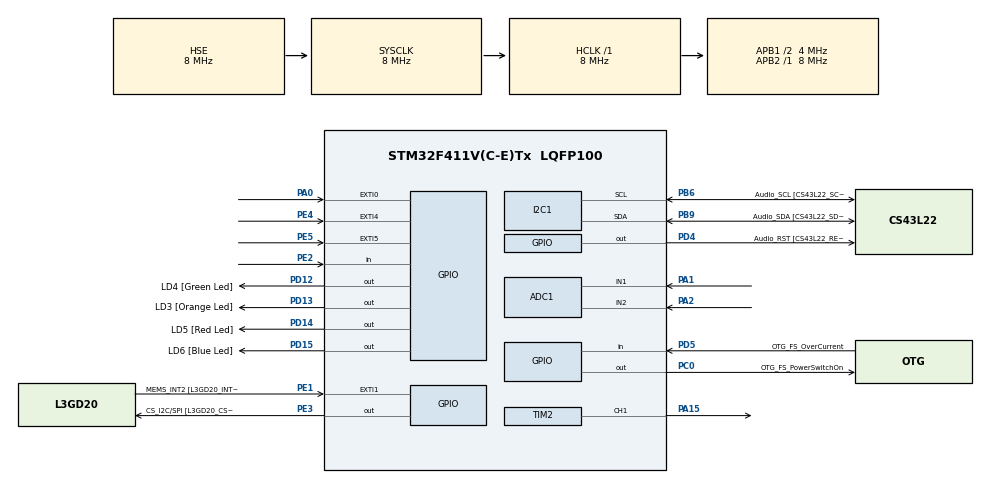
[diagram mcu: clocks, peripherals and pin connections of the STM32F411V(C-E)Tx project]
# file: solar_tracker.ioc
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ADC1.Channel-0\#ChannelRegularConversion=ADC_CHANNEL_2
ADC1.Channel-10\#ChannelInjectedConversion=ADC_CHANNEL_1
ADC1.Channel-11\#ChannelInjectedConversion=ADC_CHANNEL_2
ADC1.ContinuousConvMode=DISABLE
ADC1.EOCSelection=ADC_EOC_SINGLE_CONV
ADC1.InjNumberOfConversion=2
ADC1.InjectedConvMode=None
ADC1.InjectedOffset-10\#ChannelInjectedConversion=0
ADC1.InjectedOffset-11\#ChannelInjectedConversion=0
ADC1.InjectedRank-10\#ChannelInjectedConversion=1
ADC1.InjectedRank-11\#ChannelInjectedConversion=2
ADC1.NbrOfConversion=1
ADC1.NbrOfConversionFlag=1
ADC1.Rank-0\#ChannelRegularConversion=1
ADC1.SamplingTime-0\#ChannelRegularConversion=ADC_SAMPLETIME_3CYCLES
ADC1.SamplingTime-10\#ChannelInjectedConversion=ADC_SAMPLETIME_28CYCLES
ADC1.SamplingTime-11\#ChannelInjectedConversion=ADC_SAMPLETIME_28CYCLES
ADC1.master=1
Mcu.Family=STM32F4
Mcu.Name=STM32F411V(C-E)Tx
Mcu.Package=LQFP100
NVIC.ADC_IRQn=true\:0\:0\:false\:false\:true\:true\:true\:true
NVIC.I2C1_EV_IRQn=true\:0\:0\:false\:false\:true\:true\:true\:true
NVIC.PriorityGroup=NVIC_PRIORITYGROUP_0
NVIC.RCC_IRQn=true\:0\:0\:false\:false\:true\:true\:false\:true
NVIC.TIM2_IRQn=true\:0\:0\:false\:false\:true\:true\:true\:true
PA0-WKUP.GPIO_ModeDefaultEXTI=GPIO_MODE_EVT_RISING
PA0-WKUP.Signal=GPXTI0
PA1.Signal=ADCx_IN1
PA10.GPIO_Label=OTG_FS_ID
PA10.Signal=USB_OTG_FS_ID
PA11.GPIO_Label=OTG_FS_DM
PA11.Signal=USB_OTG_FS_DM
PA12.GPIO_Label=OTG_FS_DP
PA12.Signal=USB_OTG_FS_DP
PA13.GPIO_Label=SWDIO
PA13.Signal=SYS_JTMS-SWDIO
PA14.GPIO_Label=SWCLK
PA14.Signal=SYS_JTCK-SWCLK
PA15.Signal=S_TIM2_CH1_ETR
PA2.Signal=ADCx_IN2
PA4.GPIO_Label=I2S3_WS [CS43L22_LRCK]
PA4.GPIO_Mode=GPIO_MODE_AF_PP
PA4.GPIO_PuPd=GPIO_NOPULL
PA4.GPIO_Speed=GPIO_SPEED_FREQ_LOW
PA4.Signal=I2S3_WS
PA5.GPIO_Label=SPI1_SCK [L3GD20_SC/SPC]
PA5.Signal=SPI1_SCK
PA6.GPIO_Label=SPI1_MISO [L3GD20_AS0/SDO]
PA6.Signal=SPI1_MISO
PA7.GPIO_Label=SPI1_MOSI [L3GD20_SDA/SDI/SDO]
PA7.Signal=SPI1_MOSI
PA9.GPIO_Label=VBUS_FS
PA9.Signal=USB_OTG_FS_VBUS
PB10.GPIO_Label=CLK_IN [MP45DT02_CLK]
PB10.Signal=I2S2_CK
PB12.Signal=I2S2_WS
PB3.GPIO_Label=SWO
PB3.Signal=SYS_JTDO-SWO
PB6.GPIO_Label=Audio_SCL [CS43L22_SCL]
PB6.GPIO_Mode=GPIO_MODE_AF_OD
PB6.GPIO_PuPd=GPIO_NOPULL
PB6.GPIO_Speed=GPIO_SPEED_FREQ_LOW
PB6.Mode=I2C
PB6.Signal=I2C1_SCL
PB9.GPIO_Label=Audio_SDA [CS43L22_SDA]
PB9.GPIO_Mode=GPIO_MODE_AF_OD
PB9.GPIO_PuPd=GPIO_NOPULL
PB9.GPIO_Speed=GPIO_SPEED_FREQ_LOW
PB9.Mode=I2C
PB9.Signal=I2C1_SDA
PC0.GPIO_Label=OTG_FS_PowerSwitchOn
PC0.PinState=GPIO_PIN_SET
PC0.Signal=GPIO_Output
PC10.GPIO_Label=I2S3_SCK [CS43L22_SCLK]
PC10.GPIO_Mode=GPIO_MODE_AF_PP
PC10.GPIO_PuPd=GPIO_NOPULL
PC10.GPIO_Speed=GPIO_SPEED_FREQ_LOW
PC10.Signal=I2S3_CK
PC12.GPIO_Label=I2S3_SD [CS43L22_SDIN]
PC12.GPIO_Mode=GPIO_MODE_AF_PP
PC12.GPIO_PuPd=GPIO_NOPULL
PC12.GPIO_Speed=GPIO_SPEED_FREQ_LOW
PC12.Signal=I2S3_SD
PC14-OSC32_IN.GPIO_Label=PC14-OSC32_IN
PC14-OSC32_IN.Signal=RCC_OSC32_IN
PC15-OSC32_OUT.GPIO_Label=PC15-OSC32_OUT
PC15-OSC32_OUT.Signal=RCC_OSC32_OUT
PC3.GPIO_Label=PDM_OUT [MP45DT02_DOUT]
PC3.Signal=I2S2_SD
PC7.GPIO_Label=I2S3_MCK [CS43L22_MCLK]
PC7.GPIO_Mode=GPIO_MODE_AF_PP
PC7.GPIO_PuPd=GPIO_NOPULL
PC7.GPIO_Speed=GPIO_SPEED_FREQ_LOW
PC7.Signal=I2S3_MCK
PD12.GPIO_Label=LD4 [Green Led]
PD12.GPIO_PuPd=GPIO_NOPULL
PD12.GPIO_Speed=GPIO_SPEED_FREQ_LOW
PD12.Signal=GPIO_Output
PD13.GPIO_Label=LD3 [Orange Led]
PD13.GPIO_PuPd=GPIO_NOPULL
PD13.GPIO_Speed=GPIO_SPEED_FREQ_LOW
PD13.Signal=GPIO_Output
PD14.GPIO_Label=LD5 [Red Led]
PD14.GPIO_PuPd=GPIO_NOPULL
PD14.GPIO_Speed=GPIO_SPEED_FREQ_LOW
PD14.Signal=GPIO_Output
PD15.GPIO_Label=LD6 [Blue Led]
PD15.GPIO_PuPd=GPIO_NOPULL
PD15.GPIO_Speed=GPIO_SPEED_FREQ_LOW
PD15.Signal=GPIO_Output
PD4.GPIO_Label=Audio_RST [CS43L22_RESET]
PD4.Signal=GPIO_Output
PD5.GPIO_Label=OTG_FS_OverCurrent
PD5.Signal=GPIO_Input
PE1.GPIO_Label=MEMS_INT2 [L3GD20_INT2]
PE1.GPIO_ModeDefaultEXTI=GPIO_MODE_EVT_RISING
PE1.Signal=GPXTI1
PE2.Signal=GPIO_Input
PE3.GPIO_Label=CS_I2C/SPI [L3GD20_CS_I2C/SPI]
PE3.Signal=GPIO_Output
PE4.GPIO_ModeDefaultEXTI=GPIO_MODE_EVT_RISING
PE4.Signal=GPXTI4
PE5.GPIO_ModeDefaultEXTI=GPIO_MODE_EVT_RISING
PE5.Signal=GPXTI5
PH0\ -\ OSC_IN.Mode=HSE-External-Oscillator
PH0\ -\ OSC_IN.Signal=RCC_OSC_IN
PH1\ -\ OSC_OUT.Mode=HSE-External-Oscillator
PH1\ -\ OSC_OUT.Signal=RCC_OSC_OUT
ProjectManager.HeapSize=0x200
ProjectManager.StackSize=0x400
ProjectManager.TargetToolchain=STM32CubeIDE
RCC.AHBFreq_Value=8000000
RCC.APB1CLKDivider=RCC_HCLK_DIV2
RCC.APB1Freq_Value=4000000
RCC.APB1TimFreq_Value=8000000
RCC.APB2Freq_Value=8000000
RCC.APB2TimFreq_Value=8000000
RCC.CortexFreq_Value=8000000
RCC.HCLKFreq_Value=8000000
RCC.HSE_VALUE=8000000
RCC.HSI_VALUE=16000000
RCC.LSE_VALUE=32768
RCC.PLLI2SM=5
RCC.PLLI2SN=200
RCC.PLLM=8
RCC.PLLP=RCC_PLLP_DIV4
RCC.PLLQ=8
RCC.SYSCLKFreq_VALUE=8000000
RCC.SYSCLKSource=RCC_SYSCLKSOURCE_HSE
RCC.VCOOutputFreq_Value=384000000
SH.ADCx_IN1.0=ADC1_IN1,IN1
SH.ADCx_IN2.0=ADC1_IN2,IN2
SH.S_TIM2_CH1_ETR.0=TIM2_CH1,PWM Generation1 CH1
TIM2.Channel-PWM\ Generation1\ CH1=TIM_CHANNEL_1
TIM2.Period=20000
TIM2.Prescaler=7
VP_TIM2_VS_ClockSourceINT.Mode=Internal
board=STM32F411E-DISCO

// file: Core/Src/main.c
/* USER CODE BEGIN Header */
/**
  ******************************************************************************
  * @file           : main.c
  * @brief          : Main program body
  ******************************************************************************
  * @attention
  *
  * Copyright (c) 2025 STMicroelectronics.
  * All rights reserved.
  *
  * This software is licensed under terms that can be found in the LICENSE file
  * in the root directory of this software component.
  * If no LICENSE file comes with this software, it is provided AS-IS.
  *
  ******************************************************************************
  */
/* USER CODE END Header */
#include "main.h"
#include <string.h>
#include <stdio.h>
#include <inttypes.h>

ADC_HandleTypeDef hadc1;

I2C_HandleTypeDef hi2c1;

TIM_HandleTypeDef htim2;

void SystemClock_Config(void);
static void MX_GPIO_Init(void);
static void MX_ADC1_Init(void);
static void MX_TIM2_Init(void);
static void MX_I2C1_Init(void);
/* USER CODE BEGIN PFP */

void Empty_Line(uint8_t row){
	GROVE_LCD_SetCursor(row,0);
	GROVE_LCD_WriteString("                ");
}

void Show_Delta(int8_t counter, int32_t value){
    if (counter % 10 == 0){
    	Empty_Line(0);
        char delta[20];
        snprintf(delta, sizeof(delta), "delta=%" PRId32, value);

        GROVE_LCD_SetCursor(0,0);
        GROVE_LCD_WriteString(delta);
    }
}
/* USER CODE END PFP */

/* USER CODE BEGIN 0 */
uint32_t chan1 = 1;
uint32_t chan2 = 2;
uint32_t act_pos = 0;
uint32_t tar_pos = 0;
uint32_t lux_chan1_v = 0;
uint32_t lux_chan2_v = 0;
uint32_t flag = 0;
int32_t  pos= 900;
int32_t max_range= 2400;
int32_t step = 0;
/* USER CODE END 0 */

int main(void)
{

  /* MCU Configuration--------------------------------------------------------*/

  /* Reset of all peripherals, Initializes the Flash interface and the Systick. */
  HAL_Init();

  /* Configure the system clock */
  SystemClock_Config();

  /* Initialize all configured peripherals */
  MX_GPIO_Init();
  MX_ADC1_Init();
  MX_TIM2_Init();
  MX_I2C1_Init();

  /* Infinite loop */
  /* USER CODE BEGIN WHILE */
  HAL_TIM_PWM_Start(&htim2, TIM_CHANNEL_1);
  HAL_ADCEx_InjectedStart_IT(&hadc1);
 __HAL_TIM_SET_COMPARE(&htim2, TIM_CHANNEL_1, pos);
 HAL_Delay(10);
 pos = 500;
 __HAL_TIM_SET_COMPARE(&htim2, TIM_CHANNEL_1, pos);
 GROVE_LCD_Init(&hi2c1);
 GROVE_LCD_setBacklightRGB(0,128,0);
 char * word = "Initializing";
 int8_t counter = 0;
 GROVE_LCD_WriteString(word);
 HAL_Delay(10);
while (1)
  {
	  if (flag == 1){
		  flag = 0;
		  HAL_ADCEx_InjectedStart_IT(&hadc1);
	  }

	 int32_t dlt_lux =  lux_chan1_v - lux_chan2_v;

	 Show_Delta(counter, dlt_lux);

	 if((-0.125*max_range < dlt_lux) &&
		 (dlt_lux <0.125*max_range)){
		 step = 0;
	 }else if (-0.25*max_range < dlt_lux &&
			 dlt_lux < 0.25*max_range){
		 step = 5;
	 }else if (-0.65*max_range < dlt_lux &&
			 dlt_lux < 0.65*max_range){
		 step = 10;
	 }else {
		 step = 30;
	 }
	 if (dlt_lux < 0){
		step *= -1;
	 }

	 if (pos>= 500 && pos <= 2400){
		 pos += step;
	 }else {
		 if (pos<500){
			 pos = 500;
		 }else {
			 pos = 2400;
		 }

	 }
	 __HAL_TIM_SET_COMPARE(&htim2, TIM_CHANNEL_1, pos);
	 HAL_Delay(50);
	 counter ++;
    /* USER CODE END WHILE */

  }
}

void SystemClock_Config(void)
{
  RCC_OscInitTypeDef RCC_OscInitStruct = {0};
  RCC_ClkInitTypeDef RCC_ClkInitStruct = {0};

  /** Configure the main internal regulator output voltage
  */
  __HAL_RCC_PWR_CLK_ENABLE();
  __HAL_PWR_VOLTAGESCALING_CONFIG(PWR_REGULATOR_VOLTAGE_SCALE1);

  /** Initializes the RCC Oscillators according to the specified parameters
  * in the RCC_OscInitTypeDef structure.
  */
  RCC_OscInitStruct.OscillatorType = RCC_OSCILLATORTYPE_HSE;
  RCC_OscInitStruct.HSEState = RCC_HSE_ON;
  RCC_OscInitStruct.PLL.PLLState = RCC_PLL_NONE;
  if (HAL_RCC_OscConfig(&RCC_OscInitStruct) != HAL_OK)
  {
    Error_Handler();
  }

  /** Initializes the CPU, AHB and APB buses clocks
  */
  RCC_ClkInitStruct.ClockType = RCC_CLOCKTYPE_HCLK|RCC_CLOCKTYPE_SYSCLK
                              |RCC_CLOCKTYPE_PCLK1|RCC_CLOCKTYPE_PCLK2;
  RCC_ClkInitStruct.SYSCLKSource = RCC_SYSCLKSOURCE_HSE;
  RCC_ClkInitStruct.AHBCLKDivider = RCC_SYSCLK_DIV1;
  RCC_ClkInitStruct.APB1CLKDivider = RCC_HCLK_DIV2;
  RCC_ClkInitStruct.APB2CLKDivider = RCC_HCLK_DIV1;

  if (HAL_RCC_ClockConfig(&RCC_ClkInitStruct, FLASH_LATENCY_0) != HAL_OK)
  {
    Error_Handler();
  }
}

static void MX_ADC1_Init(void)
{

  ADC_ChannelConfTypeDef sConfig = {0};
  ADC_InjectionConfTypeDef sConfigInjected = {0};

  /** Configure the global features of the ADC (Clock, Resolution, Data Alignment and number of conversion)
  */
  hadc1.Instance = ADC1;
  hadc1.Init.ClockPrescaler = ADC_CLOCK_SYNC_PCLK_DIV2;
  hadc1.Init.Resolution = ADC_RESOLUTION_12B;
  hadc1.Init.ScanConvMode = ENABLE;
  hadc1.Init.ContinuousConvMode = DISABLE;
  hadc1.Init.DiscontinuousConvMode = DISABLE;
  hadc1.Init.ExternalTrigConvEdge = ADC_EXTERNALTRIGCONVEDGE_NONE;
  hadc1.Init.ExternalTrigConv = ADC_SOFTWARE_START;
  hadc1.Init.DataAlign = ADC_DATAALIGN_RIGHT;
  hadc1.Init.NbrOfConversion = 1;
  hadc1.Init.DMAContinuousRequests = DISABLE;
  hadc1.Init.EOCSelection = ADC_EOC_SINGLE_CONV;
  if (HAL_ADC_Init(&hadc1) != HAL_OK)
  {
    Error_Handler();
  }

  /** Configure for the selected ADC regular channel its corresponding rank in the sequencer and its sample time.
  */
  sConfig.Channel = ADC_CHANNEL_2;
  sConfig.Rank = 1;
  sConfig.SamplingTime = ADC_SAMPLETIME_3CYCLES;
  if (HAL_ADC_ConfigChannel(&hadc1, &sConfig) != HAL_OK)
  {
    Error_Handler();
  }

  /** Configures for the selected ADC injected channel its corresponding rank in the sequencer and its sample time
  */
  sConfigInjected.InjectedChannel = ADC_CHANNEL_1;
  sConfigInjected.InjectedRank = 1;
  sConfigInjected.InjectedNbrOfConversion = 2;
  sConfigInjected.InjectedSamplingTime = ADC_SAMPLETIME_28CYCLES;
  sConfigInjected.ExternalTrigInjecConvEdge = ADC_EXTERNALTRIGINJECCONVEDGE_NONE;
  sConfigInjected.ExternalTrigInjecConv = ADC_INJECTED_SOFTWARE_START;
  sConfigInjected.AutoInjectedConv = DISABLE;
  sConfigInjected.InjectedDiscontinuousConvMode = DISABLE;
  sConfigInjected.InjectedOffset = 0;
  if (HAL_ADCEx_InjectedConfigChannel(&hadc1, &sConfigInjected) != HAL_OK)
  {
    Error_Handler();
  }

  /** Configures for the selected ADC injected channel its corresponding rank in the sequencer and its sample time
  */
  sConfigInjected.InjectedChannel = ADC_CHANNEL_2;
  sConfigInjected.InjectedRank = 2;
  if (HAL_ADCEx_InjectedConfigChannel(&hadc1, &sConfigInjected) != HAL_OK)
  {
    Error_Handler();
  }

}

static void MX_I2C1_Init(void)
{

  hi2c1.Instance = I2C1;
  hi2c1.Init.ClockSpeed = 100000;
  hi2c1.Init.DutyCycle = I2C_DUTYCYCLE_2;
  hi2c1.Init.OwnAddress1 = 0;
  hi2c1.Init.AddressingMode = I2C_ADDRESSINGMODE_7BIT;
  hi2c1.Init.DualAddressMode = I2C_DUALADDRESS_DISABLE;
  hi2c1.Init.OwnAddress2 = 0;
  hi2c1.Init.GeneralCallMode = I2C_GENERALCALL_DISABLE;
  hi2c1.Init.NoStretchMode = I2C_NOSTRETCH_DISABLE;
  if (HAL_I2C_Init(&hi2c1) != HAL_OK)
  {
    Error_Handler();
  }

}

static void MX_TIM2_Init(void)
{

  TIM_ClockConfigTypeDef sClockSourceConfig = {0};
  TIM_MasterConfigTypeDef sMasterConfig = {0};
  TIM_OC_InitTypeDef sConfigOC = {0};

  htim2.Instance = TIM2;
  htim2.Init.Prescaler = 7;
  htim2.Init.CounterMode = TIM_COUNTERMODE_UP;
  htim2.Init.Period = 20000;
  htim2.Init.ClockDivision = TIM_CLOCKDIVISION_DIV1;
  htim2.Init.AutoReloadPreload = TIM_AUTORELOAD_PRELOAD_DISABLE;
  if (HAL_TIM_Base_Init(&htim2) != HAL_OK)
  {
    Error_Handler();
  }
  sClockSourceConfig.ClockSource = TIM_CLOCKSOURCE_INTERNAL;
  if (HAL_TIM_ConfigClockSource(&htim2, &sClockSourceConfig) != HAL_OK)
  {
    Error_Handler();
  }
  if (HAL_TIM_PWM_Init(&htim2) != HAL_OK)
  {
    Error_Handler();
  }
  sMasterConfig.MasterOutputTrigger = TIM_TRGO_RESET;
  sMasterConfig.MasterSlaveMode = TIM_MASTERSLAVEMODE_DISABLE;
  if (HAL_TIMEx_MasterConfigSynchronization(&htim2, &sMasterConfig) != HAL_OK)
  {
    Error_Handler();
  }
  sConfigOC.OCMode = TIM_OCMODE_PWM1;
  sConfigOC.Pulse = 0;
  sConfigOC.OCPolarity = TIM_OCPOLARITY_HIGH;
  sConfigOC.OCFastMode = TIM_OCFAST_DISABLE;
  if (HAL_TIM_PWM_ConfigChannel(&htim2, &sConfigOC, TIM_CHANNEL_1) != HAL_OK)
  {
    Error_Handler();
  }
  HAL_TIM_MspPostInit(&htim2);

}

static void MX_GPIO_Init(void)
{
  GPIO_InitTypeDef GPIO_InitStruct = {0};

  /* GPIO Ports Clock Enable */
  __HAL_RCC_GPIOE_CLK_ENABLE();
  __HAL_RCC_GPIOC_CLK_ENABLE();
  __HAL_RCC_GPIOH_CLK_ENABLE();
  __HAL_RCC_GPIOA_CLK_ENABLE();
  __HAL_RCC_GPIOB_CLK_ENABLE();
  __HAL_RCC_GPIOD_CLK_ENABLE();

  /*Configure GPIO pin Output Level */
  HAL_GPIO_WritePin(CS_I2C_SPI_GPIO_Port, CS_I2C_SPI_Pin, GPIO_PIN_RESET);

  /*Configure GPIO pin Output Level */
  HAL_GPIO_WritePin(OTG_FS_PowerSwitchOn_GPIO_Port, OTG_FS_PowerSwitchOn_Pin, GPIO_PIN_SET);

  /*Configure GPIO pin Output Level */
  HAL_GPIO_WritePin(GPIOD, LD4_Pin|LD3_Pin|LD5_Pin|LD6_Pin
                          |Audio_RST_Pin, GPIO_PIN_RESET);

  /*Configure GPIO pin : PE2 */
  GPIO_InitStruct.Pin = GPIO_PIN_2;
  GPIO_InitStruct.Mode = GPIO_MODE_INPUT;
  GPIO_InitStruct.Pull = GPIO_NOPULL;
  HAL_GPIO_Init(GPIOE, &GPIO_InitStruct);

  /*Configure GPIO pin : CS_I2C_SPI_Pin */
  GPIO_InitStruct.Pin = CS_I2C_SPI_Pin;
  GPIO_InitStruct.Mode = GPIO_MODE_OUTPUT_PP;
  GPIO_InitStruct.Pull = GPIO_NOPULL;
  GPIO_InitStruct.Speed = GPIO_SPEED_FREQ_LOW;
  HAL_GPIO_Init(CS_I2C_SPI_GPIO_Port, &GPIO_InitStruct);

  /*Configure GPIO pins : PE4 PE5 MEMS_INT2_Pin */
  GPIO_InitStruct.Pin = GPIO_PIN_4|GPIO_PIN_5|MEMS_INT2_Pin;
  GPIO_InitStruct.Mode = GPIO_MODE_EVT_RISING;
  GPIO_InitStruct.Pull = GPIO_NOPULL;
  HAL_GPIO_Init(GPIOE, &GPIO_InitStruct);

  /*Configure GPIO pin : OTG_FS_PowerSwitchOn_Pin */
  GPIO_InitStruct.Pin = OTG_FS_PowerSwitchOn_Pin;
  GPIO_InitStruct.Mode = GPIO_MODE_OUTPUT_PP;
  GPIO_InitStruct.Pull = GPIO_NOPULL;
  GPIO_InitStruct.Speed = GPIO_SPEED_FREQ_LOW;
  HAL_GPIO_Init(OTG_FS_PowerSwitchOn_GPIO_Port, &GPIO_InitStruct);

  /*Configure GPIO pin : PDM_OUT_Pin */
  GPIO_InitStruct.Pin = PDM_OUT_Pin;
  GPIO_InitStruct.Mode = GPIO_MODE_AF_PP;
  GPIO_InitStruct.Pull = GPIO_NOPULL;
  GPIO_InitStruct.Speed = GPIO_SPEED_FREQ_LOW;
  GPIO_InitStruct.Alternate = GPIO_AF5_SPI2;
  HAL_GPIO_Init(PDM_OUT_GPIO_Port, &GPIO_InitStruct);

  /*Configure GPIO pin : PA0 */
  GPIO_InitStruct.Pin = GPIO_PIN_0;
  GPIO_InitStruct.Mode = GPIO_MODE_EVT_RISING;
  GPIO_InitStruct.Pull = GPIO_NOPULL;
  HAL_GPIO_Init(GPIOA, &GPIO_InitStruct);

  /*Configure GPIO pin : I2S3_WS_Pin */
  GPIO_InitStruct.Pin = I2S3_WS_Pin;
  GPIO_InitStruct.Mode = GPIO_MODE_AF_PP;
  GPIO_InitStruct.Pull = GPIO_NOPULL;
  GPIO_InitStruct.Speed = GPIO_SPEED_FREQ_LOW;
  GPIO_InitStruct.Alternate = GPIO_AF6_SPI3;
  HAL_GPIO_Init(I2S3_WS_GPIO_Port, &GPIO_InitStruct);

  /*Configure GPIO pins : SPI1_SCK_Pin SPI1_MISO_Pin SPI1_MOSI_Pin */
  GPIO_InitStruct.Pin = SPI1_SCK_Pin|SPI1_MISO_Pin|SPI1_MOSI_Pin;
  GPIO_InitStruct.Mode = GPIO_MODE_AF_PP;
  GPIO_InitStruct.Pull = GPIO_NOPULL;
  GPIO_InitStruct.Speed = GPIO_SPEED_FREQ_VERY_HIGH;
  GPIO_InitStruct.Alternate = GPIO_AF5_SPI1;
  HAL_GPIO_Init(GPIOA, &GPIO_InitStruct);

  /*Configure GPIO pins : CLK_IN_Pin PB12 */
  GPIO_InitStruct.Pin = CLK_IN_Pin|GPIO_PIN_12;
  GPIO_InitStruct.Mode = GPIO_MODE_AF_PP;
  GPIO_InitStruct.Pull = GPIO_NOPULL;
  GPIO_InitStruct.Speed = GPIO_SPEED_FREQ_LOW;
  GPIO_InitStruct.Alternate = GPIO_AF5_SPI2;
  HAL_GPIO_Init(GPIOB, &GPIO_InitStruct);

  /*Configure GPIO pins : LD4_Pin LD3_Pin LD5_Pin LD6_Pin
                           Audio_RST_Pin */
  GPIO_InitStruct.Pin = LD4_Pin|LD3_Pin|LD5_Pin|LD6_Pin
                          |Audio_RST_Pin;
  GPIO_InitStruct.Mode = GPIO_MODE_OUTPUT_PP;
  GPIO_InitStruct.Pull = GPIO_NOPULL;
  GPIO_InitStruct.Speed = GPIO_SPEED_FREQ_LOW;
  HAL_GPIO_Init(GPIOD, &GPIO_InitStruct);

  /*Configure GPIO pins : I2S3_MCK_Pin I2S3_SCK_Pin I2S3_SD_Pin */
  GPIO_InitStruct.Pin = I2S3_MCK_Pin|I2S3_SCK_Pin|I2S3_SD_Pin;
  GPIO_InitStruct.Mode = GPIO_MODE_AF_PP;
  GPIO_InitStruct.Pull = GPIO_NOPULL;
  GPIO_InitStruct.Speed = GPIO_SPEED_FREQ_LOW;
  GPIO_InitStruct.Alternate = GPIO_AF6_SPI3;
  HAL_GPIO_Init(GPIOC, &GPIO_InitStruct);

  /*Configure GPIO pin : VBUS_FS_Pin */
  GPIO_InitStruct.Pin = VBUS_FS_Pin;
  GPIO_InitStruct.Mode = GPIO_MODE_INPUT;
  GPIO_InitStruct.Pull = GPIO_NOPULL;
  HAL_GPIO_Init(VBUS_FS_GPIO_Port, &GPIO_InitStruct);

  /*Configure GPIO pins : OTG_FS_ID_Pin OTG_FS_DM_Pin OTG_FS_DP_Pin */
  GPIO_InitStruct.Pin = OTG_FS_ID_Pin|OTG_FS_DM_Pin|OTG_FS_DP_Pin;
  GPIO_InitStruct.Mode = GPIO_MODE_AF_PP;
  GPIO_InitStruct.Pull = GPIO_NOPULL;
  GPIO_InitStruct.Speed = GPIO_SPEED_FREQ_VERY_HIGH;
  GPIO_InitStruct.Alternate = GPIO_AF10_OTG_FS;
  HAL_GPIO_Init(GPIOA, &GPIO_InitStruct);

  /*Configure GPIO pin : OTG_FS_OverCurrent_Pin */
  GPIO_InitStruct.Pin = OTG_FS_OverCurrent_Pin;
  GPIO_InitStruct.Mode = GPIO_MODE_INPUT;
  GPIO_InitStruct.Pull = GPIO_NOPULL;
  HAL_GPIO_Init(OTG_FS_OverCurrent_GPIO_Port, &GPIO_InitStruct);

}

/* USER CODE BEGIN 4 */
void HAL_ADCEx_InjectedConvCpltCallback(ADC_HandleTypeDef *hadc){
	if (hadc->Instance == ADC1){
	 flag  = 1;
	 lux_chan1_v = HAL_ADCEx_InjectedGetValue(&hadc1, ADC_INJECTED_RANK_1);
	 lux_chan2_v = HAL_ADCEx_InjectedGetValue(&hadc1, ADC_INJECTED_RANK_2);
	}
}

/* USER CODE END 4 */

void Error_Handler(void)
{
  __disable_irq();
  while (1)
  {
  }
}
